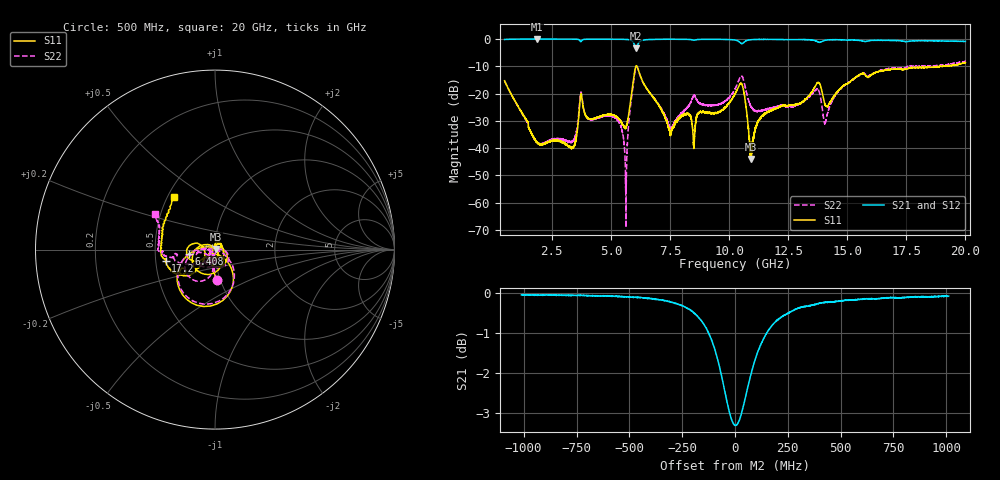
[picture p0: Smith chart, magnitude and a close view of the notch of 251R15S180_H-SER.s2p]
!{251R15S180}
!Johanson Technology Inc.
!www.johansontechnology.com
!Test Board Conditions:
!Substrate Type  RO4350B
!Substrate Thickness  20 mil
!Substrate Dk  3.66
!TL Type: GCPW
!TL Trace Width  34 mil
!TL Gap  10 mil
!Electrode orientation  Horizontal
!DUT TOPOLOGY	SERIES
!Mounting Pad LxW  26x52 mil
! Created Thu Mar 12 16:54:00 2020
# mhz S ma R 50
! 2 Port Network Data from SP1.SP block
! freq  magS11  angS11  magS21  angS21  magS12  angS12  magS22  angS22
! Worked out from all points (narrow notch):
!   19501 points, 500 MHz to 20 GHz, reference 50 ohm
!   highest |S21| = 0.00 dB at 1.885 GHz (marker M1); lowest = -3.3 dB at 6.059 GHz (marker M2)
!   notch at M2: 3.1 dB deep, 169 MHz wide at half that depth
!   lowest |S11| = -44.0 dB at 10.93 GHz (marker M3), VSWR 1.01, Z = 50.5 + j0.355 ohm
!   |S11| at or under -10 dB: start of sweep to 6.052 GHz; 6.106 GHz to 18.92 GHz (12.81 GHz wide, 102 % of centre); 18.99412 GHz to 19.03852 GHz (44.4 MHz wide, 0.233 % of centre) (the widest 3 of 10)
!   |S22| runs from -69.2 to -8.2 dB; largest |S21 - S12| = 0.024
!   S11 on the Smith chart (normalised r, x): 500 MHz: 0.96, -0.34; 6.408 GHz: 0.75, -0.04; 17.2 GHz: 0.57, -0.08; 20 GHz: 0.54, +0.37
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500  0.1716 -87.1  0.983 3.3  0.9841 3.3  0.1708 -86.1
1885  0.01256 -172.5  0.9999 -25.4  0.9982 -25.4  0.01272 -57.6
3387  0.01033 73.2  0.9961 -49.8  0.996 -49.8  0.01349 -9.5
3750  0.09639 -89.4  0.9153 -52.1  0.9144 -52.2  0.1016 -84.5
5284  0.03633 -140.4  0.9924 -79.2  0.9935 -79.2  0.03233 173.8
5619  0.02339 -94.1  0.9859 -86.1  0.9858 -86.0  0.003205 159.1
6059  0.3206 -98.6  0.6823 -90.1  0.6835 -90.1  0.3061 -97.2
6408  0.1464 -170.3  0.9629 -88.9  0.9642 -88.9  0.1454 -171.1
7000  0.06361 168.4  0.9898 -100.9  0.9903 -101.0  0.06522 179.2
7554  0.0204 84.0  0.9923 -110.3  0.993 -110.3  0.02215 -118.7
8191  0.04267 47.1  0.989 -121.0  0.988 -120.9  0.05275 -108.8
8507  0.01104 48.9  0.9539 -125.5  0.9529 -125.5  0.09238 -119.2
10250  0.09758 -69.3  0.96 -155.6  0.9602 -155.6  0.1217 -96.2
10574  0.1355 -160.0  0.8321 -154.3  0.8323 -154.4  0.1987 -147.4
10929  0.006299 33.9  0.973 -158.9  0.9732 -159.0  0.05739 -155.9
11445  0.04043 -69.6  0.9873 -168.8  0.9867 -168.9  0.04924 -110.0
13500  0.1075 -144.3  0.9655 155.4  0.9649 155.5  0.09761 -104.1
14073  0.06092 175.1  0.9521 151.9  0.9553 151.8  0.02984 -143.3
14871  0.1429 -133.2  0.9624 135.5  0.9648 135.4  0.1409 -145.0
16750  0.2761 -157.3  0.9475 104.9  0.9383 104.5  0.2874 -173.6
17199  0.282 -166.9  0.932 96.7  0.9318 96.9  0.2923 -178.0
20000  0.3707 127.9  0.9058 48.2  0.9016 48.4  0.3878 149.2
